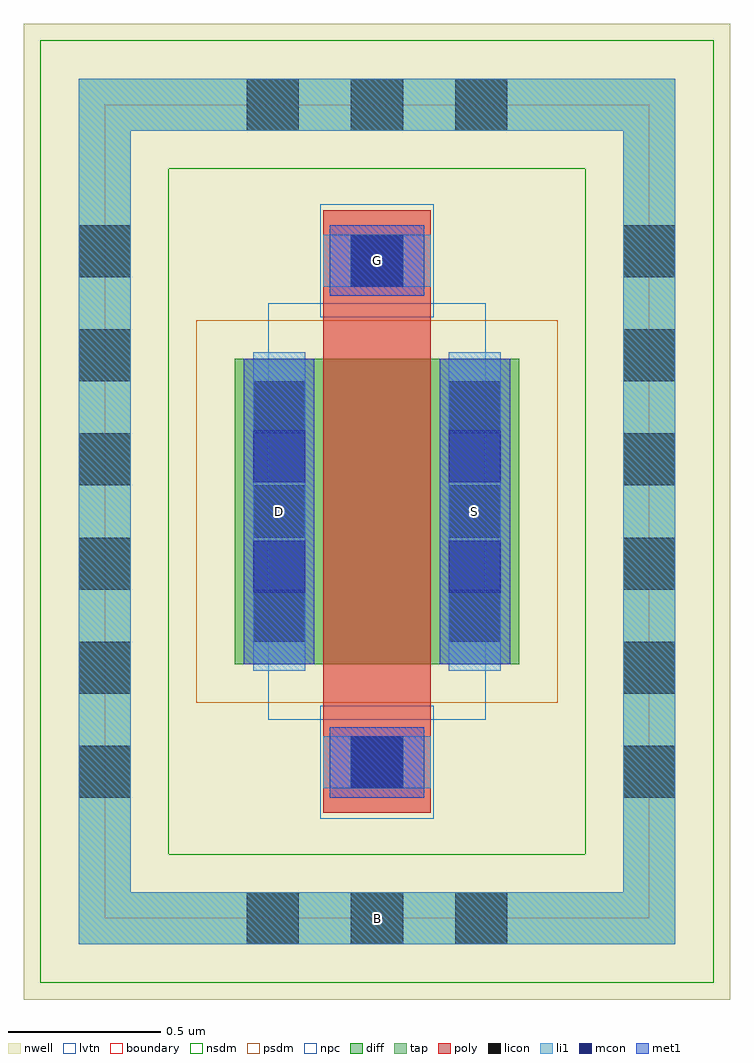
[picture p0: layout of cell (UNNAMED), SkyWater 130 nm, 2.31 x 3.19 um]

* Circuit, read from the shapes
.subckt (UNNAMED) B D G S
XM1 S G D B sky130_fd_pr__pfet_01v8_lvt w=1 l=0.35
.ends

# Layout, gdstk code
import gdstk
lib = gdstk.Library(unit=1e-6, precision=1e-09)
def R(c, l, rs):  # rectangles x0, y0, x1, y1
    for r in rs: c.add(gdstk.rectangle(r[:2], r[2:], *l))
def A(c, l, x, y, w, h, nx, ny, dx, dy):  # array of equal rectangles
    R(c, l, [(x+i*dx, y+j*dy, x+i*dx+w, y+j*dy+h) for i in range(nx) for j in range(ny)])
nwell = (64, 20)
diff = (65, 20)
tap = (65, 44)
poly = (66, 20)
licon = (66, 44)
li1 = (67, 20)
mcon = (67, 44)
met1 = (68, 20)
nsdm = (93, 44)
psdm = (94, 20)
npc = (95, 20)
lvtn = (125, 44)
boundary = (235, 4)

c__unnamed_ = lib.new_cell('(UNNAMED)')
R(c__unnamed_, nwell, [(-1.155,-1.595,1.155,1.595)])
R(c__unnamed_, diff, [(-0.465,-0.5,0.465,0.5)])
R(c__unnamed_, tap, [(-0.975,-1.415,0.975,-1.245), (-0.975,-1.245,-0.805,1.245), (0.805,-1.245,0.975,1.245), (-0.975,1.245,0.975,1.415)])
R(c__unnamed_, poly, [(-0.175,-0.985,0.175,0.985)])
A(c__unnamed_, licon, -0.425, -1.415, 0.17, 0.17, 3, 2, 0.34, 2.66)
A(c__unnamed_, licon, -0.975, -0.935, 0.17, 0.17, 1, 6, 0, 0.34)
A(c__unnamed_, licon, 0.805, -0.935, 0.17, 0.17, 1, 6, 0, 0.34)
A(c__unnamed_, licon, -0.405, -0.425, 0.17, 0.17, 1, 3, 0, 0.34)
A(c__unnamed_, licon, 0.235, -0.425, 0.17, 0.17, 1, 3, 0, 0.34)
R(c__unnamed_, licon, [(-0.085,-0.905,0.085,-0.735), (-0.085,0.735,0.085,0.905)])
R(c__unnamed_, li1, [(-0.975,-1.415,0.975,-1.245), (-0.975,-1.245,-0.805,1.245), (0.805,-1.245,0.975,1.245), (-0.175,-0.905,0.175,-0.735), (-0.405,-0.52,-0.235,0.52), (0.235,-0.52,0.405,0.52), (-0.175,0.735,0.175,0.905), (-0.975,1.245,0.975,1.415)])
R(c__unnamed_, mcon, [(-0.085,-0.905,0.085,-0.735), (-0.405,-0.265,-0.235,-0.095), (0.235,-0.265,0.405,-0.095), (-0.405,0.095,-0.235,0.265), (0.235,0.095,0.405,0.265), (-0.085,0.735,0.085,0.905)])
R(c__unnamed_, met1, [(-0.155,-0.935,0.155,-0.705), (-0.435,-0.5,-0.205,0.5), (0.205,-0.5,0.435,0.5), (-0.155,0.705,0.155,0.935)])
R(c__unnamed_, nsdm, [(-1.1,-1.54,1.1,-1.12), (-1.1,-1.12,-0.68,1.12), (0.68,-1.12,1.1,1.12), (-1.1,1.12,1.1,1.54)])
R(c__unnamed_, psdm, [(-0.59,-0.625,0.59,0.625)])
R(c__unnamed_, npc, [(-0.185,-1.005,0.185,-0.635), (-0.185,0.635,0.185,1.005)])
R(c__unnamed_, lvtn, [(-0.355,-0.68,0.355,0.68)])
R(c__unnamed_, boundary, [(-0.89,-1.33,0.89,1.33)])
c__unnamed_.add(gdstk.Label('B', (0,-1.33), layer=67, texttype=5))
c__unnamed_.add(gdstk.Label('D', (-0.32,0), layer=67, texttype=5))
c__unnamed_.add(gdstk.Label('S', (0.32,0), layer=67, texttype=5))
c__unnamed_.add(gdstk.Label('G', (0,0.82), layer=67, texttype=5))

lib.write_gds('_UNNAMED_.gds')
